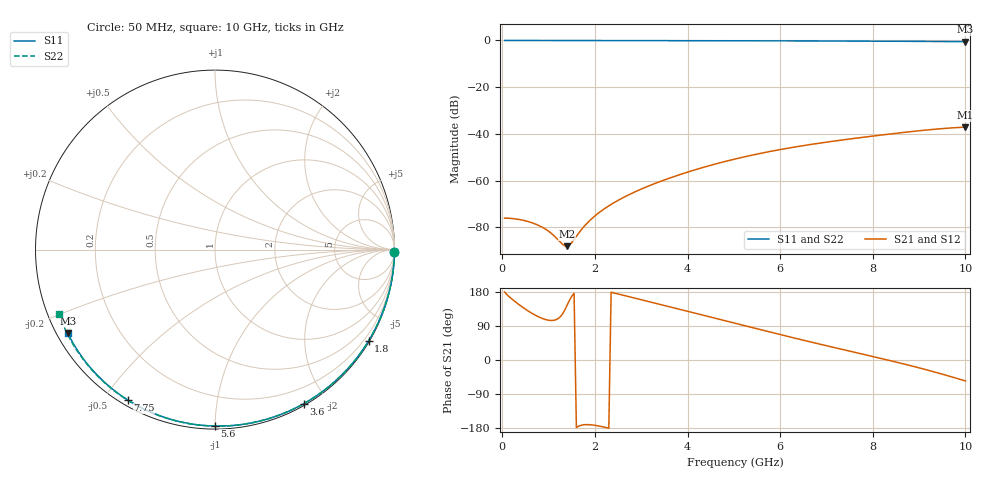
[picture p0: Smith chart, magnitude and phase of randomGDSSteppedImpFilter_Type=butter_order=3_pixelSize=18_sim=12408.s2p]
! freq	dB(S11)	phase(S11)	dB(S12)	phase(S12)
!  dB(S21)	phase(S21)	dB(S22)	phase(S22)
!S-par simulation data
#  GHz  S  DB  R 50
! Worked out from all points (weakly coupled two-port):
!   200 points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, 50 MHz to 10 GHz, reference 50 ohm
!   highest |S21| = -37.08 dB at 10 GHz (marker M1); lowest = -88.0 dB at 1.4 GHz (marker M2)
!   lowest |S11| = -0.5 dB at 10 GHz (marker M3), VSWR 34.10, Z = 1.57 - j13.1 ohm
!   |S11| at or under -10 dB: nowhere
!   |S22| runs from -0.5 to 0.0 dB; largest |S21 - S12| = 0
!   S11 on the Smith chart (normalised r, x): 50 MHz: open; 1.8 GHz: 0.03, -3.63; 3.6 GHz: 0.02, -1.73; 5.6 GHz: 0.02, -1.00; 7.75 GHz: 0.02, -0.58; 10 GHz: 0.03, -0.26
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0.05  -0.00 -0.9  -76.01 179.5  -76.01 179.5  -0.00 -0.9
0.25  -0.00 -4.3  -76.26 156.6  -76.26 156.6  -0.00 -4.5
0.5  -0.01 -8.7  -77.16 134.1  -77.16 134.1  -0.01 -9.0
0.65  -0.01 -11.3  -78.05 122.5  -78.05 122.5  -0.01 -11.7
0.9  -0.02 -15.5  -80.32 108.1  -80.32 108.1  -0.02 -16.2
1.4  -0.03 -24.0  -88.01 144.7  -88.01 144.7  -0.03 -25.0
1.75  -0.04 -29.9  -79.96 -171.1  -79.96 -171.1  -0.04 -31.1
1.8  -0.04 -30.8  -78.84 -170.6  -78.84 -170.6  -0.04 -32.0
2.05  -0.04 -34.9  -74.26 -173.4  -74.26 -173.4  -0.05 -36.3
2.4  -0.05 -40.7  -69.54 177.3  -69.54 177.3  -0.05 -42.3
2.85  -0.06 -48.1  -64.91 163.6  -64.91 163.6  -0.06 -49.9
3.4  -0.08 -56.9  -60.41 146.7  -60.41 146.7  -0.08 -59.1
3.6  -0.08 -60.0  -58.97 140.7  -58.97 140.7  -0.08 -62.3
4.3  -0.10 -70.8  -54.53 119.4  -54.53 119.4  -0.10 -73.6
5.05  -0.13 -82.1  -50.61 96.4  -50.61 96.4  -0.13 -85.3
5.6  -0.15 -90.1  -48.20 79.4  -48.20 79.4  -0.16 -93.6
6.15  -0.18 -98.0  -46.15 62.7  -46.15 62.7  -0.18 -101.8
6.7  -0.21 -105.7  -44.38 46.4  -44.38 46.4  -0.22 -109.9
7.75  -0.28 -120.1  -41.52 16.3  -41.52 16.3  -0.29 -125.0
8.35  -0.33 -128.3  -40.07 -0.9  -40.07 -0.9  -0.35 -133.6
9.2  -0.41 -139.7  -38.23 -27.2  -38.23 -27.2  -0.44 -145.8
10  -0.51 -150.5  -37.08 -55.3  -37.08 -55.3  -0.53 -157.6
